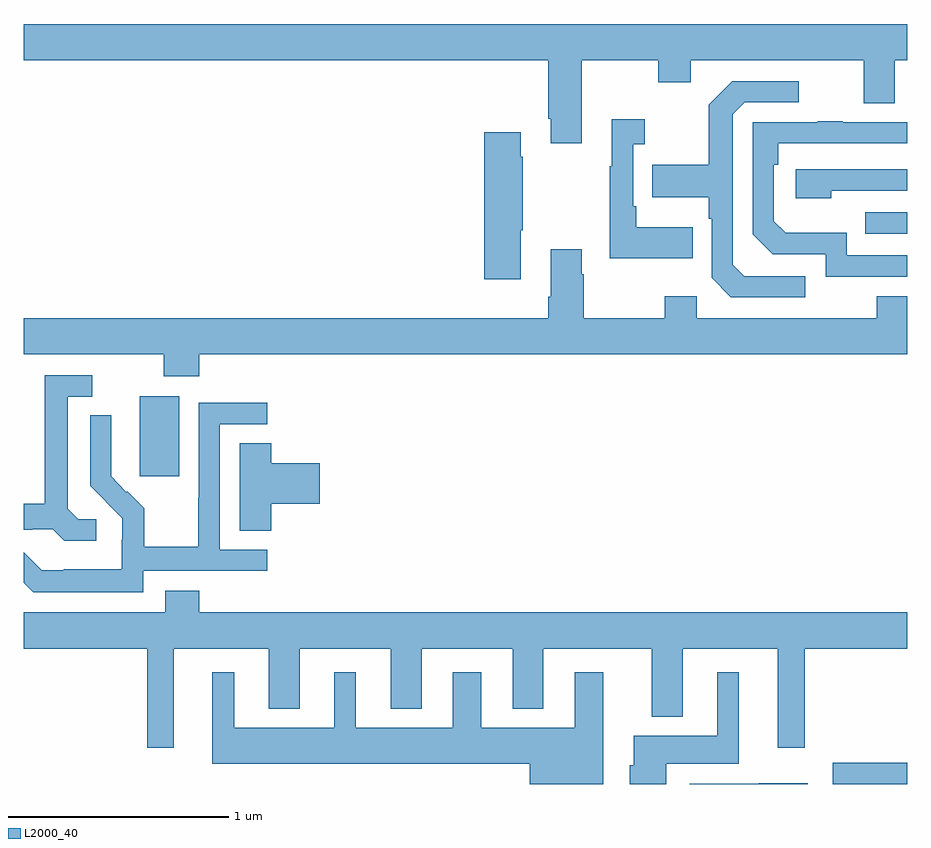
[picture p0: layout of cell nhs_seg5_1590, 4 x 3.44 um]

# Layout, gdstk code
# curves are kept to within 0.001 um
import gdstk
lib = gdstk.Library(unit=1e-6, precision=1e-09)
def R(c, l, rs):  # rectangles x0, y0, x1, y1
    for r in rs: c.add(gdstk.rectangle(r[:2], r[2:], *l))
def P(c, l, *ps):  # polygons
    for p in ps: c.add(gdstk.Polygon(p, *l))
L2000_40 = (2000, 40)

nhs_seg5_1590 = lib.new_cell('nhs_seg5_1590')
R(nhs_seg5_1590, L2000_40, [(210.663,870.799,211,870.896), (207.524,872.193,207.703,872.554), (210.811,873.291,211,873.387)])
P(nhs_seg5_1590, L2000_40, [(209.527,874.076),(209.872,874.076),(209.872,873.977),(210.019,873.977),(210.019,874.076),(210.803,874.076),(210.803,873.882),(210.943,873.882),(210.943,874.076),(211,874.076),(211,874.24),(207,874.24),(207,874.076),(209.375,874.076),(209.375,873.811),(209.387,873.811),(209.387,873.699),(209.527,873.699)],
  [(210.538,873.099),(210.261,873.099),(210.21,873.15),(210.21,873.831),(210.264,873.885),(210.508,873.885),(210.508,873.981),(210.207,873.981),(210.102,873.875),(210.102,873.603),(209.845,873.603),(209.845,873.455),(210.102,873.455),(210.102,873.359),(210.114,873.359),(210.114,873.09),(210.201,873.003),(210.538,873.003)],
  [(210.029,873.319),(209.773,873.319),(209.773,873.415),(209.76,873.415),(209.76,873.695),(209.812,873.695),(209.812,873.808),(209.663,873.808),(209.663,873.595),(209.652,873.595),(209.652,873.179),(210.029,873.179)],
  [(211,873.192),(210.726,873.192),(210.726,873.295),(210.449,873.295),(210.396,873.348),(210.396,873.602),(210.416,873.602),(210.416,873.699),(211,873.699),(211,873.795),(210.707,873.795),(210.707,873.8),(210.595,873.8),(210.595,873.795),(210.3,873.795),(210.3,873.288),(210.39,873.198),(210.63,873.198),(210.63,873.096),(211,873.096)],
  [(209.251,873.307),(209.259,873.307),(209.259,873.638),(209.251,873.638),(209.251,873.751),(209.084,873.751),(209.084,873.084),(209.251,873.084)],
  [(210.656,873.486),(211,873.486),(211,873.582),(210.495,873.582),(210.495,873.452),(210.656,873.452)],
  [(207.794,872.744),(211,872.744),(211,873.007),(210.862,873.007),(210.862,872.908),(210.048,872.908),(210.048,873.007),(209.902,873.007),(209.902,872.908),(209.535,872.908),(209.535,873.107),(209.527,873.107),(209.527,873.22),(209.387,873.22),(209.387,873.004),(209.375,873.004),(209.375,872.908),(207,872.908),(207,872.744),(207.634,872.744),(207.634,872.645),(207.794,872.645)],
  [(207.328,871.998),(207.246,871.998),(207.199,872.045),(207.199,872.553),(207.31,872.553),(207.31,872.649),(207.095,872.649),(207.095,872.069),(207,872.069),(207,871.95),(207.038,871.95),(207.038,871.953),(207.132,871.953),(207.184,871.901),(207.328,871.901)],
  [(207.54,871.764),(208.102,871.764),(208.102,871.86),(207.888,871.86),(207.888,872.427),(208.102,872.427),(208.102,872.526),(207.792,872.526),(207.792,872.096),(207.79,872.096),(207.79,871.873),(207.545,871.873),(207.545,872.047),(207.468,872.124),(207.465,872.121),(207.395,872.192),(207.396,872.468),(207.3,872.468),(207.3,872.15),(207.446,872.002),(207.446,871.905),(207.444,871.905),(207.444,871.771),(207.181,871.771),(207.181,871.767),(207.081,871.767),(207,871.848),(207,871.71),(207.043,871.667),(207.54,871.667)],
  [(208.121,872.069),(208.339,872.069),(208.339,872.252),(208.121,872.252),(208.121,872.342),(207.977,872.342),(207.977,871.945),(208.121,871.945)],
  [(207.679,871.412),(208.109,871.412),(208.109,871.139),(208.249,871.139),(208.249,871.412),(208.661,871.412),(208.661,871.139),(208.801,871.139),(208.801,871.412),(209.213,871.412),(209.213,871.139),(209.353,871.139),(209.353,871.412),(209.843,871.412),(209.843,871.103),(209.983,871.103),(209.983,871.412),(210.413,871.412),(210.413,870.963),(210.535,870.963),(210.535,871.412),(211,871.412),(211,871.576),(207.794,871.576),(207.794,871.675),(207.641,871.675),(207.641,871.576),(207,871.576),(207,871.412),(207.558,871.412),(207.558,870.963),(207.679,870.963)],
  [(209.623,871.306),(209.495,871.306),(209.495,871.054),(209.071,871.054),(209.071,871.306),(208.943,871.306),(208.943,871.054),(208.504,871.054),(208.504,871.306),(208.406,871.306),(208.406,871.054),(207.952,871.054),(207.952,871.306),(207.854,871.306),(207.854,870.89),(209.291,870.89),(209.291,870.799),(209.623,870.799)],
  [(209.908,870.89),(210.238,870.89),(210.238,871.306),(210.14,871.306),(210.14,871.018),(209.762,871.018),(209.762,870.885),(209.744,870.885),(209.744,870.799),(209.908,870.799)],
  [(210.55,870.802),(210.327,870.802),(210.327,870.801),(210.015,870.801),(210.015,870.799),(210.55,870.799)])

lib.write_gds('nhs_seg5_1590.gds')
